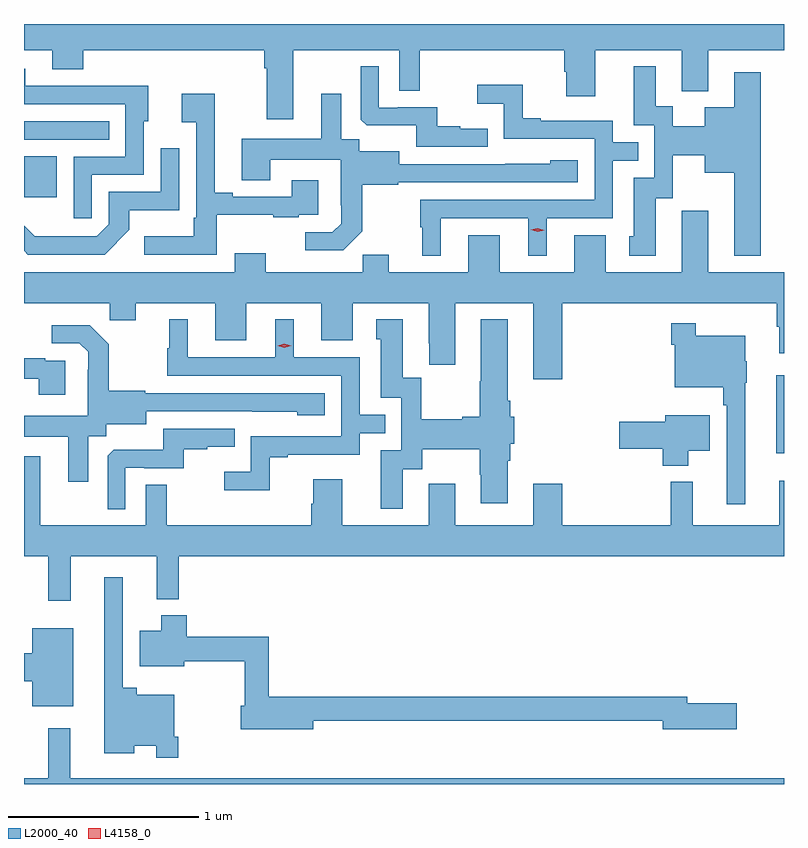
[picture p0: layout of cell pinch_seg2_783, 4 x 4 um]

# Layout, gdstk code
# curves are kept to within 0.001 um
import gdstk
lib = gdstk.Library(unit=1e-6, precision=1e-09)
def R(c, l, rs):  # rectangles x0, y0, x1, y1
    for r in rs: c.add(gdstk.rectangle(r[:2], r[2:], *l))
def P(c, l, *ps):  # polygons
    for p in ps: c.add(gdstk.Polygon(p, *l))
L2000_40 = (2000, 40)
L4158_0 = (4158, 0)

pinch_seg2_783 = lib.new_cell('pinch_seg2_783')
R(pinch_seg2_783, L2000_40, [(663.443,612.215,663.484,612.625), (659.484,613.562,659.656,613.777), (659.484,613.866,659.933,613.962)])
P(pinch_seg2_783, L2000_40, [(660.901,614.336),(661.458,614.336),(661.458,614.122),(661.567,614.122),(661.567,614.336),(662.327,614.336),(662.327,614.223),(662.339,614.223),(662.339,614.094),(662.491,614.094),(662.491,614.336),(662.945,614.336),(662.945,614.12),(663.085,614.12),(663.085,614.336),(663.484,614.336),(663.484,614.474),(659.484,614.474),(659.484,614.336),(659.633,614.336),(659.633,614.237),(659.797,614.237),(659.797,614.336),(660.749,614.336),(660.749,614.24),(660.761,614.24),(660.761,613.974),(660.901,613.974)],
  [(663.361,614.221),(663.221,614.221),(663.221,614.035),(663.068,614.035),(663.068,613.936),(662.899,613.936),(662.899,614.042),(662.809,614.042),(662.809,614.251),(662.693,614.251),(662.693,613.941),(662.802,613.941),(662.802,613.665),(662.693,613.665),(662.693,613.356),(662.669,613.356),(662.669,613.254),(662.809,613.254),(662.809,613.557),(662.898,613.557),(662.898,613.784),(663.068,613.784),(663.068,613.691),(663.221,613.691),(663.221,613.253),(663.361,613.253)],
  [(661.925,613.924),(661.781,613.924),(661.781,613.936),(661.658,613.936),(661.658,614.037),(661.45,614.037),(661.45,614.034),(661.35,614.034),(661.35,614.251),(661.257,614.251),(661.257,613.971),(661.289,613.94),(661.548,613.94),(661.548,613.827),(661.925,613.827)],
  [(659.841,613.68),(660.114,613.68),(660.114,613.962),(660.139,613.962),(660.139,614.15),(659.921,614.15),(659.921,614.148),(659.491,614.148),(659.491,614.239),(659.484,614.239),(659.484,614.052),(660.018,614.052),(660.018,613.776),(659.745,613.776),(659.745,613.452),(659.841,613.452)],
  [(661.678,613.452),(662.138,613.452),(662.138,613.253),(662.236,613.253),(662.236,613.452),(662.583,613.452),(662.583,613.755),(662.717,613.755),(662.717,613.851),(662.583,613.851),(662.583,613.965),(662.203,613.965),(662.203,613.978),(662.109,613.978),(662.109,614.153),(661.869,614.153),(661.869,614.054),(662.01,614.054),(662.01,613.869),(662.487,613.869),(662.487,613.548),(661.569,613.548),(661.569,613.404),(661.58,613.404),(661.58,613.253),(661.678,613.253)],
  [(661.263,613.383),(661.263,613.629),(661.455,613.629),(661.455,613.641),(662.398,613.641),(662.398,613.756),(662.253,613.756),(662.253,613.738),(661.459,613.737),(661.459,613.804),(661.248,613.804),(661.248,613.868),(661.153,613.868),(661.153,614.107),(661.049,614.107),(661.049,613.87),(660.629,613.87),(660.629,613.651),(660.781,613.651),(660.781,613.76),(661.152,613.76),(661.152,613.519),(661.154,613.519),(661.154,613.424),(661.107,613.377),(660.963,613.377),(660.963,613.283),(661.163,613.283)],
  [(660.499,613.469),(660.797,613.469),(660.797,613.458),(660.929,613.458),(660.929,613.47),(661.033,613.47),(661.033,613.651),(660.893,613.651),(660.893,613.566),(660.583,613.566),(660.583,613.585),(660.487,613.585),(660.487,614.107),(660.315,614.107),(660.315,613.958),(660.39,613.958),(660.39,613.453),(660.378,613.453),(660.378,613.357),(660.117,613.357),(660.117,613.26),(660.499,613.26)],
  [(660.039,613.391),(660.039,613.493),(660.3,613.493),(660.3,613.819),(660.204,613.819),(660.204,613.59),(659.931,613.59),(659.931,613.419),(659.868,613.356),(659.644,613.356),(659.644,613.358),(659.54,613.358),(659.484,613.413),(659.484,613.281),(659.505,613.26),(659.908,613.26)],
  [(661.823,613.363),(661.823,613.168),(661.405,613.168),(661.405,613.259),(661.267,613.259),(661.267,613.168),(660.757,613.168),(660.757,613.267),(660.593,613.267),(660.593,613.168),(659.484,613.168),(659.484,613.004),(659.935,613.004),(659.935,612.914),(660.073,612.914),(660.073,613.004),(660.491,613.004),(660.491,612.81),(660.655,612.81),(660.655,613.004),(661.049,613.004),(661.049,612.81),(661.213,612.81),(661.213,613.004),(661.613,613.004),(661.613,612.793),(661.616,612.793),(661.616,612.681),(661.753,612.681),(661.753,613.004),(662.165,613.004),(662.165,612.603),(662.318,612.603),(662.318,613.004),(663.447,613.004),(663.447,612.881),(663.458,612.881),(663.458,612.741),(663.484,612.741),(663.484,613.168),(663.085,613.168),(663.085,613.492),(662.946,613.492),(662.946,613.379),(662.945,613.379),(662.945,613.168),(662.545,613.168),(662.545,613.363),(662.381,613.363),(662.381,613.168),(661.987,613.168),(661.987,613.363)],
  [(660.777,612.195),(660.871,612.195),(660.871,612.207),(661.251,612.207),(661.251,612.321),(661.385,612.321),(661.385,612.417),(661.251,612.417),(661.251,612.72),(660.904,612.72),(660.904,612.919),(660.806,612.919),(660.806,612.72),(660.346,612.72),(660.346,612.919),(660.248,612.919),(660.248,612.768),(660.237,612.768),(660.237,612.624),(661.155,612.624),(661.155,612.303),(660.678,612.303),(660.678,612.118),(660.537,612.118),(660.537,612.02),(660.777,612.02)],
  [(661.477,612.13),(661.579,612.13),(661.579,612.236),(661.882,612.236),(661.882,612.102),(661.889,612.102),(661.889,611.952),(662.029,611.952),(662.029,612.176),(662.042,612.176),(662.042,612.265),(662.065,612.265),(662.065,612.407),(662.042,612.407),(662.042,612.49),(662.029,612.49),(662.029,612.919),(661.889,612.919),(661.889,612.593),(661.882,612.593),(661.882,612.407),(661.791,612.407),(661.791,612.394),(661.575,612.394),(661.575,612.611),(661.477,612.611),(661.477,612.919),(661.337,612.919),(661.337,612.816),(661.361,612.816),(661.361,612.507),(661.47,612.507),(661.47,612.231),(661.361,612.231),(661.361,611.922),(661.477,611.922)],
  [(663.28,612.585),(663.289,612.585),(663.289,612.699),(663.28,612.699),(663.28,612.832),(663.019,612.832),(663.019,612.898),(662.89,612.898),(662.89,612.785),(662.91,612.785),(662.91,612.563),(663.163,612.563),(663.163,612.467),(663.183,612.467),(663.183,611.946),(663.28,611.946)],
  [(659.821,612.304),(659.916,612.304),(659.916,612.368),(660.127,612.368),(660.127,612.435),(660.921,612.434),(660.921,612.416),(661.066,612.416),(661.066,612.531),(660.123,612.531),(660.123,612.544),(659.931,612.544),(659.931,612.789),(659.831,612.889),(659.631,612.889),(659.631,612.795),(659.775,612.795),(659.822,612.748),(659.822,612.653),(659.82,612.653),(659.82,612.412),(659.484,612.412),(659.484,612.302),(659.717,612.302),(659.717,612.066),(659.821,612.066)],
  [(659.701,612.702),(659.597,612.702),(659.597,612.715),(659.484,612.715),(659.484,612.606),(659.561,612.606),(659.561,612.522),(659.701,612.522)],
  [(662.98,612.227),(663.094,612.227),(663.094,612.415),(662.858,612.415),(662.858,612.38),(662.616,612.38),(662.616,612.238),(662.846,612.238),(662.846,612.149),(662.98,612.149)],
  [(660.018,612.138),(660.118,612.138),(660.118,612.135),(660.326,612.135),(660.326,612.237),(660.449,612.237),(660.449,612.248),(660.593,612.248),(660.593,612.345),(660.216,612.345),(660.216,612.233),(659.957,612.233),(659.925,612.201),(659.925,611.921),(660.018,611.921)],
  [(659.729,611.672),(660.182,611.672),(660.182,611.447),(660.299,611.447),(660.299,611.672),(663.484,611.672),(663.484,612.07),(663.458,612.07),(663.458,611.836),(663.005,611.836),(663.005,612.064),(662.887,612.064),(662.887,611.836),(662.318,611.836),(662.318,612.055),(662.165,612.055),(662.165,611.836),(661.753,611.836),(661.753,612.055),(661.613,612.055),(661.613,611.836),(661.159,611.836),(661.159,612.079),(661.007,612.079),(661.007,611.949),(660.995,611.949),(660.995,611.836),(660.235,611.836),(660.235,612.05),(660.126,612.05),(660.126,611.836),(659.569,611.836),(659.569,612.199),(659.484,612.199),(659.484,611.672),(659.611,611.672),(659.611,611.439),(659.729,611.439)],
  [(660.296,610.723),(660.276,610.723),(660.276,610.945),(660.077,610.945),(660.077,610.981),(660.003,610.981),(660.003,611.563),(659.906,611.563),(659.906,610.637),(660.064,610.637),(660.064,610.676),(660.18,610.676),(660.18,610.611),(660.296,610.611)],
  [(661.006,610.806),(662.846,610.806),(662.846,610.763),(663.235,610.763),(663.235,610.898),(662.974,610.898),(662.974,610.934),(660.773,610.934),(660.773,611.248),(660.341,611.248),(660.341,611.362),(660.206,611.362),(660.206,611.281),(660.092,611.281),(660.092,611.093),(660.328,611.093),(660.328,611.119),(660.645,611.119),(660.645,610.885),(660.626,610.885),(660.626,610.763),(661.006,610.763)],
  [(659.743,611.293),(659.528,611.293),(659.528,611.162),(659.484,611.162),(659.484,611.015),(659.528,611.015),(659.528,610.883),(659.743,610.883)],
  [(663.484,610.504),(659.728,610.504),(659.728,610.768),(659.611,610.768),(659.611,610.504),(659.484,610.504),(659.484,610.474),(663.484,610.474)])
P(pinch_seg2_783, L4158_0, [(660.855,612.77),(660.819,612.78),(660.819,612.78),(660.819,612.781),(660.855,612.79),(660.891,612.781),(660.891,612.78),(660.891,612.78)],
  [(662.187,613.38),(662.151,613.39),(662.151,613.391),(662.151,613.391),(662.187,613.4),(662.223,613.389),(662.223,613.388),(662.223,613.388)])

lib.write_gds('pinch_seg2_783.gds')
